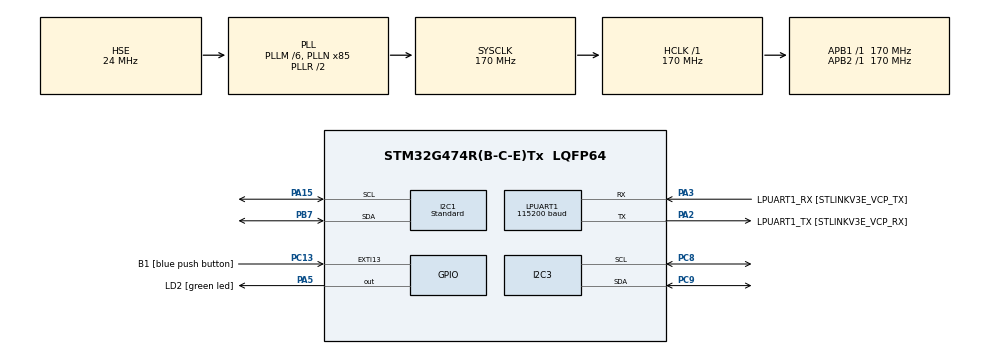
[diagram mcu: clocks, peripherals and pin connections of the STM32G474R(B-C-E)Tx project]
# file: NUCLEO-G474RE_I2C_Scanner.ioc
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I2C1.I2C_Speed_Mode=I2C_Standard
I2C1.Timing=0x30A0A7FB
I2C3.Timing=0x30A0A7FB
LPUART1.BaudRate=115200
LPUART1.WordLength=UART_WORDLENGTH_8B
Mcu.Family=STM32G4
Mcu.Name=STM32G474R(B-C-E)Tx
Mcu.Package=LQFP64
NVIC.EXTI15_10_IRQn=true\:0\:0\:false\:false\:true\:true\:true\:true
NVIC.PriorityGroup=NVIC_PRIORITYGROUP_4
PA13.GPIO_Label=T_SWDIO
PA13.Mode=Trace_Asynchronous_SW
PA13.Signal=SYS_JTMS-SWDIO
PA14.GPIO_Label=T_SWCLK
PA14.Mode=Trace_Asynchronous_SW
PA14.Signal=SYS_JTCK-SWCLK
PA15.Mode=I2C
PA15.Signal=I2C1_SCL
PA2.GPIO_Label=LPUART1_TX [STLINKV3E_VCP_RX]
PA2.Mode=Asynchronous
PA2.Signal=LPUART1_TX
PA3.GPIO_Label=LPUART1_RX [STLINKV3E_VCP_TX]
PA3.Mode=Asynchronous
PA3.Signal=LPUART1_RX
PA5.GPIO_Label=LD2 [green led]
PA5.Signal=GPIO_Output
PB3.GPIO_Label=T_SWO
PB3.Mode=Trace_Asynchronous_SW
PB3.Signal=SYS_JTDO-SWO
PB7.Mode=I2C
PB7.Signal=I2C1_SDA
PC13.GPIO_Label=B1 [blue push button]
PC13.Signal=GPXTI13
PC14-OSC32_IN.Mode=LSE-External-Oscillator
PC14-OSC32_IN.Signal=RCC_OSC32_IN
PC15-OSC32_OUT.Mode=LSE-External-Oscillator
PC15-OSC32_OUT.Signal=RCC_OSC32_OUT
PC8.Mode=I2C
PC8.Signal=I2C3_SCL
PC9.Mode=I2C
PC9.Signal=I2C3_SDA
PF0-OSC_IN.Mode=HSE-External-Oscillator
PF0-OSC_IN.Signal=RCC_OSC_IN
PF1-OSC_OUT.Mode=HSE-External-Oscillator
PF1-OSC_OUT.Signal=RCC_OSC_OUT
ProjectManager.HeapSize=0x200
ProjectManager.StackSize=0x400
ProjectManager.TargetToolchain=STM32CubeIDE
RCC.ADC12Freq_Value=170000000
RCC.ADC345Freq_Value=170000000
RCC.AHBFreq_Value=170000000
RCC.APB1Freq_Value=170000000
RCC.APB1TimFreq_Value=170000000
RCC.APB2Freq_Value=170000000
RCC.APB2TimFreq_Value=170000000
RCC.CortexFreq_Value=170000000
RCC.EXTERNAL_CLOCK_VALUE=12288000
RCC.HCLKFreq_Value=170000000
RCC.HSE_VALUE=24000000
RCC.HSI48_VALUE=48000000
RCC.HSI_VALUE=16000000
RCC.PLLM=RCC_PLLM_DIV6
RCC.PLLN=85
RCC.PLLSourceVirtual=RCC_PLLSOURCE_HSE
RCC.RTCClockSelection=RCC_RTCCLKSOURCE_LSE
RCC.SYSCLKFreq_VALUE=170000000
RCC.SYSCLKSource=RCC_SYSCLKSOURCE_PLLCLK
RCC.USBFreq_Value=170000000
RCC.VCOOutputFreq_Value=340000000
VP_SYS_VS_DBSignals.Mode=DisableDeadBatterySignals
board=NUCLEO-G474RE

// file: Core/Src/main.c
/* USER CODE BEGIN Header */
/**
 ******************************************************************************
 * @file           : main.c
 * @brief          : Main program body
 ******************************************************************************
 * @attention
 *
 * Copyright (c) 2023 STMicroelectronics.
 * All rights reserved.
 *
 * This software is licensed under terms that can be found in the LICENSE file
 * in the root directory of this software component.
 * If no LICENSE file comes with this software, it is provided AS-IS.
 *
 ******************************************************************************
 */
/* USER CODE END Header */
#include "main.h"

/* USER CODE BEGIN Includes */

#include <stdio.h>

/* USER CODE END Includes */

I2C_HandleTypeDef hi2c1;
I2C_HandleTypeDef hi2c3;

UART_HandleTypeDef hlpuart1;

void SystemClock_Config(void);
static void MX_GPIO_Init(void);
static void MX_LPUART1_UART_Init(void);
static void MX_I2C1_Init(void);
static void MX_I2C3_Init(void);
/* USER CODE BEGIN PFP */

#define PUTCHAR_PROTOTYPE int __io_putchar(int ch)

/* USER CODE END PFP */

int main(void)
{

	/* MCU Configuration--------------------------------------------------------*/

	/* Reset of all peripherals, Initializes the Flash interface and the Systick. */
	HAL_Init();

	/* Configure the system clock */
	SystemClock_Config();

	/* Initialize all configured peripherals */
	MX_GPIO_Init();
	MX_LPUART1_UART_Init();
	MX_I2C1_Init();
	MX_I2C3_Init();
	/* USER CODE BEGIN 2 */

	printf("\n\n=======================================\n");
	printf("Start >> NUCLEO-G474RE_I2C_Scanner \n");

	printf("Scanning I2C bus:......... \n");
	HAL_StatusTypeDef result;
	uint8_t cntr, numdetected = 0, detecteddevices[128];

	for (cntr = 1; cntr < 128; cntr++)
	{
		/*
		 * the HAL wants a left aligned i2c address
		 * &hi2c1 is the handle
		 * (uint16_t)(i<<1) is the i2c address left aligned
		 * retries 2
		 * timeout 2
		 */
		result = HAL_I2C_IsDeviceReady(&hi2c3, (uint16_t)(cntr << 1), 2, 2);
		if (result != HAL_OK) // HAL_ERROR or HAL_BUSY or HAL_TIMEOUT
		{
			//		  printf("."); // No ACK received at that address
			printf("0x%X = ", cntr); printf("  = NOK \n");
		}
		if (result == HAL_OK)
		{
			printf("0x%X = ", cntr); printf("  =  OK ===============================\n");
			detecteddevices[numdetected] = cntr;
			numdetected++;
		}
	}

	printf("Number of devices detected : %d\n", numdetected);
	for (cntr = 0; cntr < numdetected; cntr++)
	{
		printf("addresses detected : 0x%X\n", detecteddevices[cntr]);
	}

	printf("End   >> NUCLEO-G474RE_I2C_Scanner \n");

	/* USER CODE END 2 */

	/* Infinite loop */
	while (1)
	{

	}
}

void SystemClock_Config(void)
{
	RCC_OscInitTypeDef RCC_OscInitStruct = {0};
	RCC_ClkInitTypeDef RCC_ClkInitStruct = {0};

	/** Configure the main internal regulator output voltage
	 */
	HAL_PWREx_ControlVoltageScaling(PWR_REGULATOR_VOLTAGE_SCALE1_BOOST);

	/** Initializes the RCC Oscillators according to the specified parameters
	 * in the RCC_OscInitTypeDef structure.
	 */
	RCC_OscInitStruct.OscillatorType = RCC_OSCILLATORTYPE_HSE;
	RCC_OscInitStruct.HSEState = RCC_HSE_ON;
	RCC_OscInitStruct.PLL.PLLState = RCC_PLL_ON;
	RCC_OscInitStruct.PLL.PLLSource = RCC_PLLSOURCE_HSE;
	RCC_OscInitStruct.PLL.PLLM = RCC_PLLM_DIV6;
	RCC_OscInitStruct.PLL.PLLN = 85;
	RCC_OscInitStruct.PLL.PLLP = RCC_PLLP_DIV2;
	RCC_OscInitStruct.PLL.PLLQ = RCC_PLLQ_DIV2;
	RCC_OscInitStruct.PLL.PLLR = RCC_PLLR_DIV2;
	if (HAL_RCC_OscConfig(&RCC_OscInitStruct) != HAL_OK)
	{
		Error_Handler();
	}

	/** Initializes the CPU, AHB and APB buses clocks
	 */
	RCC_ClkInitStruct.ClockType = RCC_CLOCKTYPE_HCLK|RCC_CLOCKTYPE_SYSCLK
			|RCC_CLOCKTYPE_PCLK1|RCC_CLOCKTYPE_PCLK2;
	RCC_ClkInitStruct.SYSCLKSource = RCC_SYSCLKSOURCE_PLLCLK;
	RCC_ClkInitStruct.AHBCLKDivider = RCC_SYSCLK_DIV1;
	RCC_ClkInitStruct.APB1CLKDivider = RCC_HCLK_DIV1;
	RCC_ClkInitStruct.APB2CLKDivider = RCC_HCLK_DIV1;

	if (HAL_RCC_ClockConfig(&RCC_ClkInitStruct, FLASH_LATENCY_4) != HAL_OK)
	{
		Error_Handler();
	}
}

static void MX_I2C1_Init(void)
{

	hi2c1.Instance = I2C1;
	hi2c1.Init.Timing = 0x30A0A7FB;
	hi2c1.Init.OwnAddress1 = 0;
	hi2c1.Init.AddressingMode = I2C_ADDRESSINGMODE_7BIT;
	hi2c1.Init.DualAddressMode = I2C_DUALADDRESS_DISABLE;
	hi2c1.Init.OwnAddress2 = 0;
	hi2c1.Init.OwnAddress2Masks = I2C_OA2_NOMASK;
	hi2c1.Init.GeneralCallMode = I2C_GENERALCALL_DISABLE;
	hi2c1.Init.NoStretchMode = I2C_NOSTRETCH_DISABLE;
	if (HAL_I2C_Init(&hi2c1) != HAL_OK)
	{
		Error_Handler();
	}

	/** Configure Analogue filter
	 */
	if (HAL_I2CEx_ConfigAnalogFilter(&hi2c1, I2C_ANALOGFILTER_ENABLE) != HAL_OK)
	{
		Error_Handler();
	}

	/** Configure Digital filter
	 */
	if (HAL_I2CEx_ConfigDigitalFilter(&hi2c1, 0) != HAL_OK)
	{
		Error_Handler();
	}

}

static void MX_I2C3_Init(void)
{

	hi2c3.Instance = I2C3;
	hi2c3.Init.Timing = 0x30A0A7FB;
	hi2c3.Init.OwnAddress1 = 0;
	hi2c3.Init.AddressingMode = I2C_ADDRESSINGMODE_7BIT;
	hi2c3.Init.DualAddressMode = I2C_DUALADDRESS_DISABLE;
	hi2c3.Init.OwnAddress2 = 0;
	hi2c3.Init.OwnAddress2Masks = I2C_OA2_NOMASK;
	hi2c3.Init.GeneralCallMode = I2C_GENERALCALL_DISABLE;
	hi2c3.Init.NoStretchMode = I2C_NOSTRETCH_DISABLE;
	if (HAL_I2C_Init(&hi2c3) != HAL_OK)
	{
		Error_Handler();
	}

	/** Configure Analogue filter
	 */
	if (HAL_I2CEx_ConfigAnalogFilter(&hi2c3, I2C_ANALOGFILTER_ENABLE) != HAL_OK)
	{
		Error_Handler();
	}

	/** Configure Digital filter
	 */
	if (HAL_I2CEx_ConfigDigitalFilter(&hi2c3, 0) != HAL_OK)
	{
		Error_Handler();
	}

}

static void MX_LPUART1_UART_Init(void)
{

	hlpuart1.Instance = LPUART1;
	hlpuart1.Init.BaudRate = 115200;
	hlpuart1.Init.WordLength = UART_WORDLENGTH_8B;
	hlpuart1.Init.StopBits = UART_STOPBITS_1;
	hlpuart1.Init.Parity = UART_PARITY_NONE;
	hlpuart1.Init.Mode = UART_MODE_TX_RX;
	hlpuart1.Init.HwFlowCtl = UART_HWCONTROL_NONE;
	hlpuart1.Init.OneBitSampling = UART_ONE_BIT_SAMPLE_DISABLE;
	hlpuart1.Init.ClockPrescaler = UART_PRESCALER_DIV1;
	hlpuart1.AdvancedInit.AdvFeatureInit = UART_ADVFEATURE_NO_INIT;
	if (HAL_UART_Init(&hlpuart1) != HAL_OK)
	{
		Error_Handler();
	}
	if (HAL_UARTEx_SetTxFifoThreshold(&hlpuart1, UART_TXFIFO_THRESHOLD_1_8) != HAL_OK)
	{
		Error_Handler();
	}
	if (HAL_UARTEx_SetRxFifoThreshold(&hlpuart1, UART_RXFIFO_THRESHOLD_1_8) != HAL_OK)
	{
		Error_Handler();
	}
	if (HAL_UARTEx_DisableFifoMode(&hlpuart1) != HAL_OK)
	{
		Error_Handler();
	}

}

static void MX_GPIO_Init(void)
{
	GPIO_InitTypeDef GPIO_InitStruct = {0};

	/* GPIO Ports Clock Enable */
	__HAL_RCC_GPIOC_CLK_ENABLE();
	__HAL_RCC_GPIOF_CLK_ENABLE();
	__HAL_RCC_GPIOA_CLK_ENABLE();
	__HAL_RCC_GPIOB_CLK_ENABLE();

	/*Configure GPIO pin Output Level */
	HAL_GPIO_WritePin(LD2_GPIO_Port, LD2_Pin, GPIO_PIN_RESET);

	/*Configure GPIO pin : B1_Pin */
	GPIO_InitStruct.Pin = B1_Pin;
	GPIO_InitStruct.Mode = GPIO_MODE_IT_RISING;
	GPIO_InitStruct.Pull = GPIO_NOPULL;
	HAL_GPIO_Init(B1_GPIO_Port, &GPIO_InitStruct);

	/*Configure GPIO pin : LD2_Pin */
	GPIO_InitStruct.Pin = LD2_Pin;
	GPIO_InitStruct.Mode = GPIO_MODE_OUTPUT_PP;
	GPIO_InitStruct.Pull = GPIO_NOPULL;
	GPIO_InitStruct.Speed = GPIO_SPEED_FREQ_LOW;
	HAL_GPIO_Init(LD2_GPIO_Port, &GPIO_InitStruct);

	/* EXTI interrupt init*/
	HAL_NVIC_SetPriority(EXTI15_10_IRQn, 0, 0);
	HAL_NVIC_EnableIRQ(EXTI15_10_IRQn);

}

/* USER CODE BEGIN 4 */

PUTCHAR_PROTOTYPE
{
	/* Place your implementation of fputc here */
	/* e.g. write a character to the LPUART1 and Loop until the end of transmission */
	HAL_UART_Transmit(&hlpuart1, (uint8_t *)&ch, 1, 0xFFFF);

	return ch;
}

/* USER CODE END 4 */

void Error_Handler(void)
{
	__disable_irq();
	while (1)
	{
	}
}
